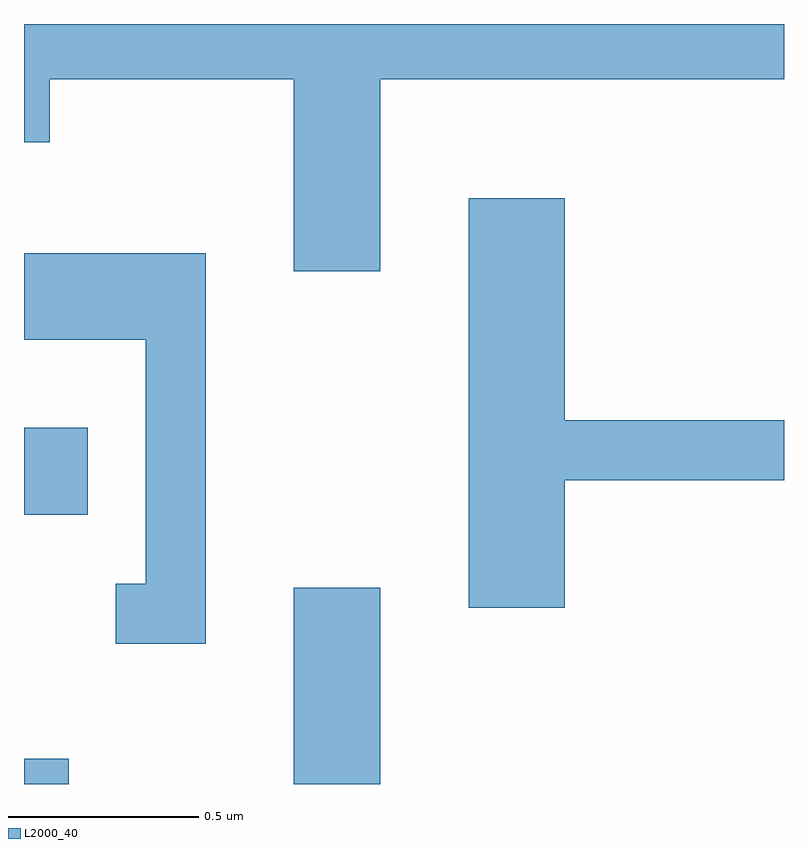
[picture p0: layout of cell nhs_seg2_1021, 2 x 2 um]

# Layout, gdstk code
import gdstk
lib = gdstk.Library(unit=1e-6, precision=1e-09)
def R(c, l, rs):  # rectangles x0, y0, x1, y1
    for r in rs: c.add(gdstk.rectangle(r[:2], r[2:], *l))
def P(c, l, *ps):  # polygons
    for p in ps: c.add(gdstk.Polygon(p, *l))
L2000_40 = (2000, 40)

nhs_seg2_1021 = lib.new_cell('nhs_seg2_1021')
R(nhs_seg2_1021, L2000_40, [(192.611,1039.802,192.729,1039.869), (193.321,1039.802,193.549,1040.319), (192.611,1040.511,192.779,1040.739)])
P(nhs_seg2_1021, L2000_40, [(193.549,1041.656),(194.611,1041.656),(194.611,1041.802),(192.611,1041.802),(192.611,1041.491),(192.679,1041.491),(192.679,1041.656),(193.321,1041.656),(193.321,1041.151),(193.549,1041.151)],
  [(194.034,1040.601),(194.611,1040.601),(194.611,1040.759),(194.034,1040.759),(194.034,1041.344),(193.781,1041.344),(193.781,1040.266),(194.034,1040.266)],
  [(193.089,1041.199),(192.611,1041.199),(192.611,1040.971),(192.931,1040.971),(192.931,1040.329),(192.853,1040.329),(192.853,1040.171),(193.089,1040.171)])

lib.write_gds('nhs_seg2_1021.gds')
